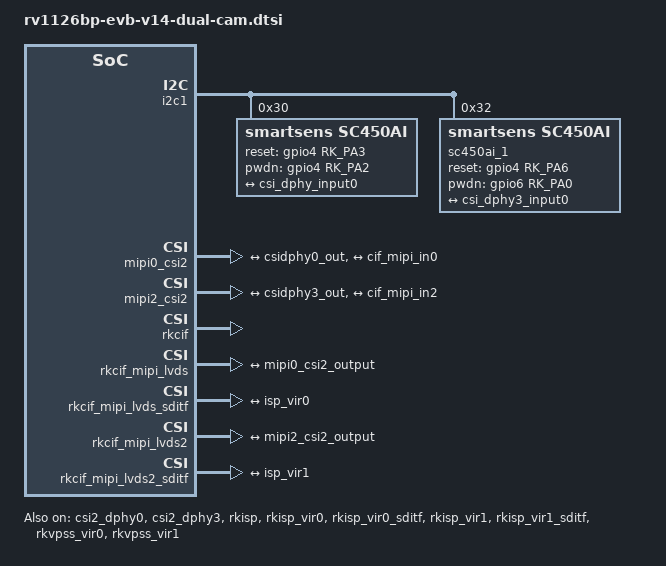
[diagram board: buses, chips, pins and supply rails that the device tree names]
// SPDX-License-Identifier: (GPL-2.0+ OR MIT)
/*
 * Copyright (c) 2025 Rockchip Electronics Co., Ltd.
 *
 */

/*
 * csi2_dphy0 -> csi0(rx0) clk0 + 4 lane
 * csi2_dphy1 -> csi0(rx0) clk0 + 2 lane 0/1
 * csi2_dphy2 -> csi0(rx0) clk1 + 2 lane 2/3
 * csi2_dphy3 -> csi1(rx1) clk0 + 4 lane
 * csi2_dphy4 -> csi1(rx1) clk0 + 2 lane 0/1
 * csi2_dphy5 -> csi1(rx1) clk1 + 2 lane 2/3
 */

&csi2_dphy0 {
	status = "okay";

	ports {
		#address-cells = <1>;
		#size-cells = <0>;
		port@0 {
			reg = <0>;
			#address-cells = <1>;
			#size-cells = <0>;

			csi_dphy_input0: endpoint@1 {
				reg = <1>;
				remote-endpoint = <&sc450ai_out>;
				data-lanes = <1 2 3 4>;
			};
		};
		port@1 {
			reg = <1>;
			#address-cells = <1>;
			#size-cells = <0>;

			csidphy0_out: endpoint@0 {
				reg = <0>;
				remote-endpoint = <&mipi0_csi2_input>;
			};
		};
	};
};

&csi2_dphy3 {
	status = "okay";

	ports {
		#address-cells = <1>;
		#size-cells = <0>;
		port@0 {
			reg = <0>;
			#address-cells = <1>;
			#size-cells = <0>;

			csi_dphy3_input0: endpoint@1 {
				reg = <1>;
				remote-endpoint = <&sc450ai_1_out>;
				data-lanes = <1 2 3 4>;
			};
		};
		port@1 {
			reg = <1>;
			#address-cells = <1>;
			#size-cells = <0>;

			csidphy3_out: endpoint@0 {
				reg = <0>;
				remote-endpoint = <&mipi2_csi2_input>;
			};
		};
	};
};

&i2c1 {
	status = "okay";
	pinctrl-0 = <&i2c1m2_pins>;

	sc450ai: sc450ai@30 {
		compatible = "smartsens,sc450ai";
		status = "okay";
		reg = <0x30>;
		clocks = <&cru CLK_MIPI0_OUT2IO>;
		clock-names = "xvclk";
		reset-gpios = <&gpio4 RK_PA3 GPIO_ACTIVE_HIGH>;
		pwdn-gpios = <&gpio4 RK_PA2 GPIO_ACTIVE_HIGH>;
		pinctrl-names = "default";
		pinctrl-0 = <&cam_clk0_pins>;
		rockchip,camera-module-index = <0>;
		rockchip,camera-module-facing = "back";
		rockchip,camera-module-name = "default";
		rockchip,camera-module-lens-name = "default";
		port {
			sc450ai_out: endpoint {
				remote-endpoint = <&csi_dphy_input0>;
				data-lanes = <1 2 3 4>;
			};
		};
	};

	sc450ai_1: sc450ai-1@32 {
		compatible = "smartsens,sc450ai";
		status = "okay";
		reg = <0x32>;
		clocks = <&cru CLK_MIPI1_OUT2IO>;
		clock-names = "xvclk";
		reset-gpios = <&gpio4 RK_PA6 GPIO_ACTIVE_HIGH>;
		pwdn-gpios = <&gpio6 RK_PA0 GPIO_ACTIVE_HIGH>;
		pinctrl-names = "default";
		pinctrl-0 = <&cam_clk1_pins>;
		rockchip,camera-module-index = <1>;
		rockchip,camera-module-facing = "back";
		rockchip,camera-module-name = "default";
		rockchip,camera-module-lens-name = "default";
		port {
			sc450ai_1_out: endpoint {
				remote-endpoint = <&csi_dphy3_input0>;
				data-lanes = <1 2 3 4>;
			};
		};
	};
};

&mipi0_csi2 {
	status = "okay";

	ports {
		#address-cells = <1>;
		#size-cells = <0>;

		port@0 {
			reg = <0>;
			#address-cells = <1>;
			#size-cells = <0>;

			mipi0_csi2_input: endpoint@1 {
				reg = <1>;
				remote-endpoint = <&csidphy0_out>;
			};
		};

		port@1 {
			reg = <1>;
			#address-cells = <1>;
			#size-cells = <0>;

			mipi0_csi2_output: endpoint@0 {
				reg = <0>;
				remote-endpoint = <&cif_mipi_in0>;
			};
		};
	};
};

&mipi2_csi2 {
	status = "okay";

	ports {
		#address-cells = <1>;
		#size-cells = <0>;

		port@0 {
			reg = <0>;
			#address-cells = <1>;
			#size-cells = <0>;

			mipi2_csi2_input: endpoint@1 {
				reg = <1>;
				remote-endpoint = <&csidphy3_out>;
			};
		};

		port@1 {
			reg = <1>;
			#address-cells = <1>;
			#size-cells = <0>;

			mipi2_csi2_output: endpoint@0 {
				reg = <0>;
				remote-endpoint = <&cif_mipi_in2>;
			};
		};
	};
};

&rkcif {
	status = "okay";
};

&rkcif_mipi_lvds {
	status = "okay";

	port {
		cif_mipi_in0: endpoint {
			remote-endpoint = <&mipi0_csi2_output>;
		};
	};
};

&rkcif_mipi_lvds_sditf {
	status = "okay";

	port {
		mipi_lvds_sditf: endpoint {
			remote-endpoint = <&isp_vir0>;
		};
	};
};

&rkcif_mipi_lvds2 {
	status = "okay";

	port {
		cif_mipi_in2: endpoint {
			remote-endpoint = <&mipi2_csi2_output>;
		};
	};
};

&rkcif_mipi_lvds2_sditf {
	status = "okay";

	port {
		mipi_lvds2_sditf: endpoint {
			remote-endpoint = <&isp_vir1>;
		};
	};
};

&rkcif_mmu {
	status = "okay";
};

&rkisp {
	status = "okay";
};

&rkisp_mmu {
	status = "okay";
};

&rkisp_vir0 {
	status = "okay";

	port {
		#address-cells = <1>;
		#size-cells = <0>;

		isp_vir0: endpoint@0 {
			reg = <0>;
			remote-endpoint = <&mipi_lvds_sditf>;
		};
	};
};

&rkisp_vir0_sditf {
	status = "okay";
};

&rkisp_vir1 {
	status = "okay";

	port {
		#address-cells = <1>;
		#size-cells = <0>;

		isp_vir1: endpoint@0 {
			reg = <0>;
			remote-endpoint = <&mipi_lvds2_sditf>;
		};
	};
};

&rkisp_vir1_sditf {
	status = "okay";
};

&rkvpss_vir0 {
	status = "okay";
};

&rkvpss_vir1 {
	status = "okay";
};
